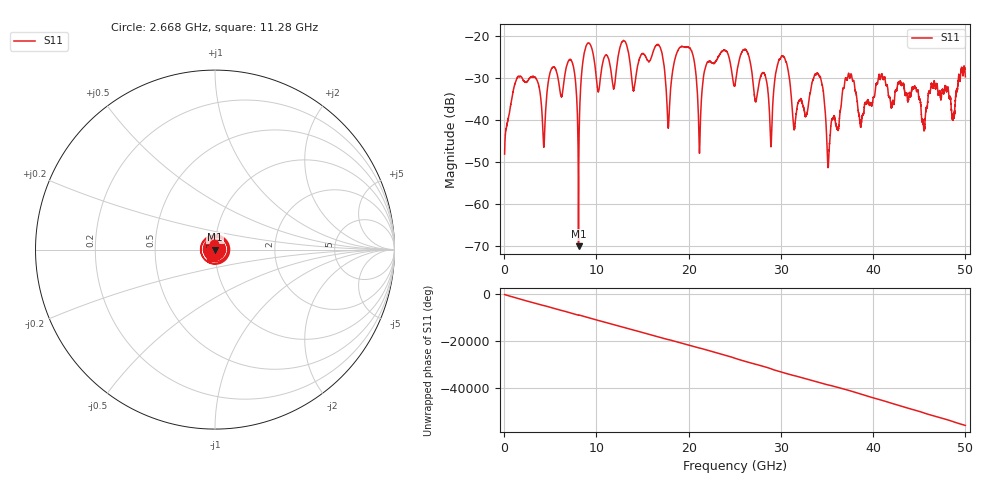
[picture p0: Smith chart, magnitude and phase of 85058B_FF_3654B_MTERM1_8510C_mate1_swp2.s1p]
!Created with skrf (http://scikit-rf.org).
# Hz S RI R 50.0
!freq ReS11 ImS11
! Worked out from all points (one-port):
!   10001 points, 45 MHz to 50 GHz, reference 50 ohm
!   lowest |S11| = -70.1 dB at 8.058 GHz (marker M1), VSWR 1.00, Z = 50 + j0.0216 ohm
!   |S11| at or under -10 dB: start of sweep to end of sweep
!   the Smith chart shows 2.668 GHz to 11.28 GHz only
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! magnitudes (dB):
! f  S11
! 45 MHz  -48.2
! 1.534 GHz  -29.7
! 4.276 GHz  -46.3
! 5.15 GHz  -27.8
! 6.289 GHz  -34.1
! 7.298 GHz  -26.0
! 8.058 GHz  -70.1
! 8.962 GHz  -22.1
! 10.21 GHz  -33.3
! 12.53 GHz  -22.9
! 14.05 GHz  -33.1
! 16.77 GHz  -22.3
! 17.8 GHz  -41.7
! 18.78 GHz  -23.8
! 20.36 GHz  -23.9
! 21.18 GHz  -47.4
! 22.1 GHz  -26.3
! 25.02 GHz  -31.7
! 26.24 GHz  -23.5
! 28.92 GHz  -46.5
! 30.23 GHz  -25.0
! 31.27 GHz  -38.5
! 34.08 GHz  -29.3
! 35.17 GHz  -50.1
! 37.51 GHz  -30.0
! 38.67 GHz  -41.5
! 43.76 GHz  -35.8
! 50 GHz  -29.8
